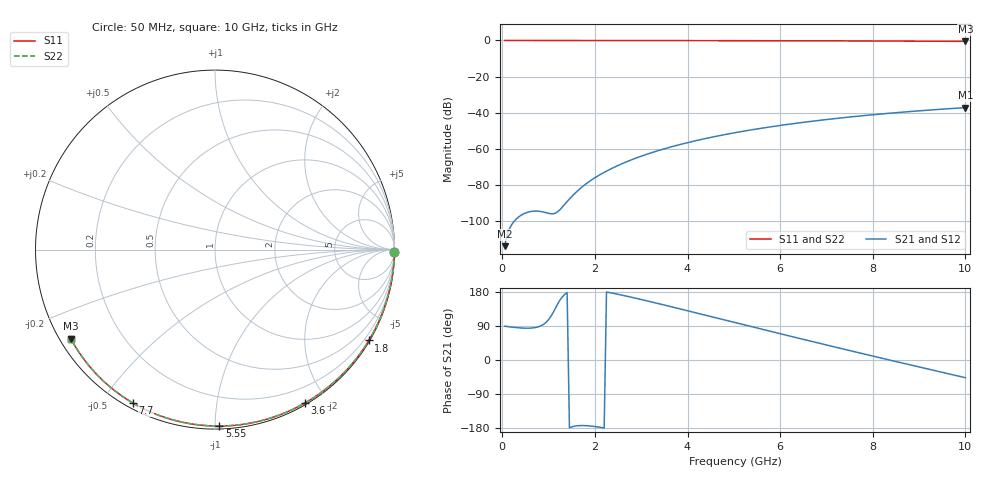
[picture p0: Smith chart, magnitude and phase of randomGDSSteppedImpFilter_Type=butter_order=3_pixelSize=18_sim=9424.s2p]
! freq	dB(S11)	phase(S11)	dB(S12)	phase(S12)
!  dB(S21)	phase(S21)	dB(S22)	phase(S22)
!S-par simulation data
#  GHz  S  DB  R 50
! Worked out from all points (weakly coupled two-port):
!   200 points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, 50 MHz to 10 GHz, reference 50 ohm
!   highest |S21| = -37.26 dB at 10 GHz (marker M1); lowest = -114.1 dB at 50 MHz (marker M2)
!   lowest |S11| = -0.5 dB at 10 GHz (marker M3), VSWR 34.84, Z = 1.55 - j14.2 ohm
!   |S11| at or under -10 dB: nowhere
!   |S22| runs from -0.5 to 0.0 dB; largest |S21 - S12| = 0
!   S11 on the Smith chart (normalised r, x): 50 MHz: open; 1.8 GHz: 0.03, -3.66; 3.6 GHz: 0.02, -1.75; 5.55 GHz: 0.02, -1.02; 7.7 GHz: 0.02, -0.60; 10 GHz: 0.03, -0.28
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0.05  -0.00 -0.9  -114.10 89.2  -114.10 89.2  -0.00 -0.9
0.45  -0.01 -7.8  -96.32 84.2  -96.32 84.2  -0.01 -7.8
0.9  -0.02 -15.4  -95.23 94.8  -95.23 94.8  -0.02 -15.4
1.3  -0.03 -22.2  -92.33 167.0  -92.33 167.0  -0.03 -22.2
1.75  -0.04 -29.7  -80.69 -173.0  -80.69 -173.0  -0.04 -29.7
1.8  -0.04 -30.5  -79.70 -173.2  -79.70 -173.2  -0.04 -30.5
1.95  -0.04 -33.0  -76.99 -174.8  -76.99 -174.8  -0.04 -33.0
2.1  -0.05 -35.5  -74.61 -177.4  -74.61 -177.4  -0.05 -35.5
2.3  -0.05 -38.8  -71.80 178.3  -71.80 178.3  -0.05 -38.8
2.5  -0.05 -42.0  -69.33 173.4  -69.33 173.4  -0.05 -42.0
2.9  -0.06 -48.5  -65.12 162.5  -65.12 162.5  -0.06 -48.5
3.4  -0.07 -56.4  -60.84 148.0  -60.84 148.0  -0.07 -56.4
3.6  -0.08 -59.5  -59.35 142.0  -59.35 142.0  -0.08 -59.5
4.3  -0.10 -70.3  -54.89 120.9  -54.89 120.9  -0.10 -70.3
5.05  -0.12 -81.4  -51.04 98.1  -51.04 98.1  -0.12 -81.4
5.55  -0.14 -88.6  -48.87 82.9  -48.87 82.9  -0.14 -88.6
6.1  -0.17 -96.4  -46.78 66.4  -46.78 66.4  -0.17 -96.4
6.7  -0.20 -104.7  -44.77 48.5  -44.77 48.5  -0.20 -104.7
7.7  -0.27 -118.1  -41.95 19.1  -41.95 19.1  -0.27 -118.1
8.35  -0.32 -126.7  -40.39 0.2  -40.39 0.2  -0.32 -126.7
9.2  -0.41 -137.9  -38.64 -24.1  -38.64 -24.1  -0.41 -137.9
10  -0.50 -148.4  -37.26 -46.7  -37.26 -46.7  -0.50 -148.3
